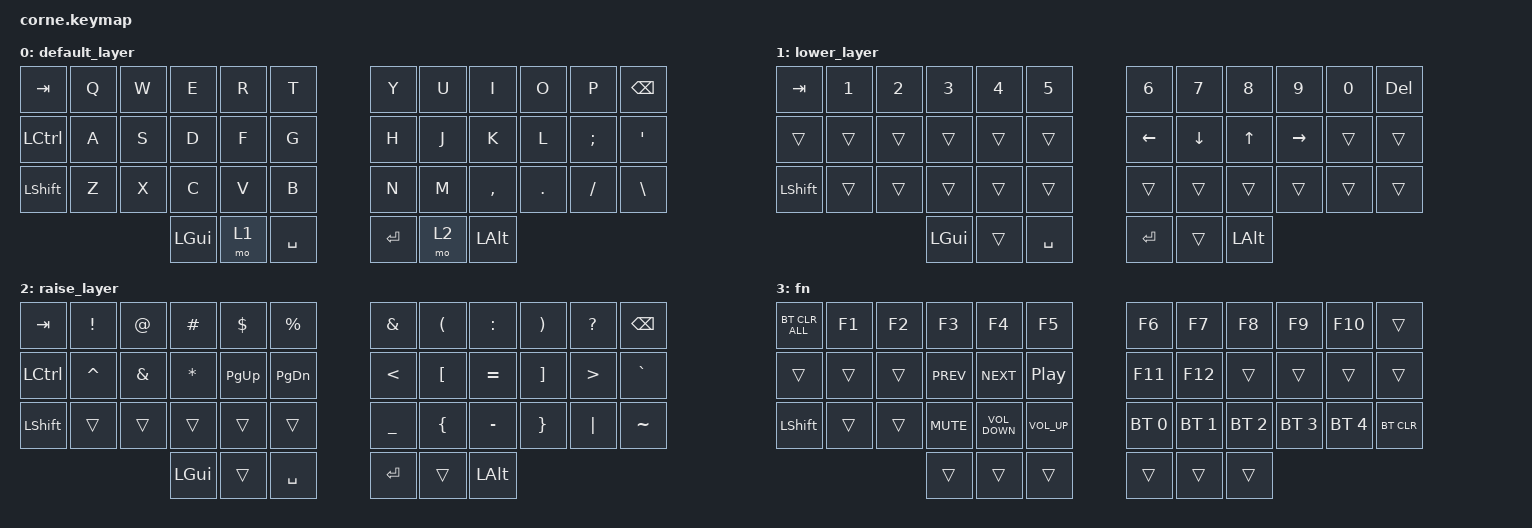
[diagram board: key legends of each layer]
/*
 * Copyright (c) 2020 The ZMK Contributors
 *
 * SPDX-License-Identifier: MIT
 */

#include <behaviors.dtsi>
#include <dt-bindings/zmk/bt.h>
#include <dt-bindings/zmk/keys.h>

/ {
    combos {
        compatible = "zmk,combos";

        combo_esc {
            timeout-ms = <50>;
            key-positions = <0 1>;
            bindings = <&kp ESC>;
        };

        print {
            bindings = <&kp PRINTSCREEN>;
            key-positions = <10 11>;
        };
    };

    behaviors {
        ss_hs_modmorph: ss_hs_modmorph {
            compatible = "zmk,behavior-mod-morph";
            label = "SS_HS_MODMORPH";
            bindings = <&kp M>, <&kp RIGHT_BRACKET>;

            #binding-cells = <0>;
            mods = <(MOD_LSFT|MOD_RSFT)>;
        };

        kh_hs_tapdance: kh_hs_tapdance {
            compatible = "zmk,behavior-tap-dance";
            label = "KH_HS_TAPDANCE";
            #binding-cells = <0>;
            tapping-term-ms = <200>;
            bindings = <&kp LEFT_BRACKET>, <&kp RIGHT_BRACKET>;
        };

        hrm: hrm {
            compatible = "zmk,behavior-hold-tap";
            #binding-cells = <2>;
            flavor = "tap-preferred";
            tapping-term-ms = <200>;
            quick-tap-ms = <200>;
            require-prior-idle-ms = <125>;
            bindings = <&kp>, <&kp>;
        };
    };

    keymap {
        compatible = "zmk,keymap";

        default_layer {
            // -----------------------------------------------------------------------------------------
            // |  TAB |  Q  |  W  |  E  |  R  |  T  |   |  Y  |  U   |  I  |  O  |  P  | BKSP |
            // | CTRL |  A  |  S  |  D  |  F  |  G  |   |  H  |  J   |  K  |  L  |  ;  |  '   |
            // | SHFT |  Z  |  X  |  C  |  V  |  B  |   |  N  |  M   |  ,  |  .  |  /  | ESC  |
            //                    | GUI | LWR | SPC |   | ENT | RSE  | ALT |

            bindings = <
&kp TAB    &kp Q  &kp W  &kp E     &kp R  &kp T        &kp Y    &kp U  &kp I      &kp O    &kp P     &kp BSPC
&kp LCTRL  &kp A  &kp S  &kp D     &kp F  &kp G        &kp H    &kp J  &kp K      &kp L    &kp SEMI  &kp SQT
&kp LSHFT  &kp Z  &kp X  &kp C     &kp V  &kp B        &kp N    &kp M  &kp COMMA  &kp DOT  &kp FSLH  &kp BACKSLASH
                         &kp LGUI  &mo 1  &kp SPACE    &kp RET  &mo 2  &kp LALT
            >;
        };

        lower_layer {
            // -----------------------------------------------------------------------------------------
            // |  TAB |  1  |  2  |  3  |  4  |  5  |   |  6  |  7  |  8  |  9  |  0  | BKSP |
            // | BTCLR| BT1 | BT2 | BT3 | BT4 | BT5 |   | LFT | DWN |  UP | RGT |     |      |
            // | SHFT |     |     |     |     |     |   |     |     |     |     |     |      |
            //                    | GUI |     | SPC |   | ENT |     | ALT |

            bindings = <
&kp TAB    &kp N1  &kp N2  &kp N3    &kp N4  &kp N5       &kp N6    &kp N7    &kp N8    &kp N9     &kp N0  &kp DELETE
&trans     &trans  &trans  &trans    &trans  &trans       &kp LEFT  &kp DOWN  &kp UP    &kp RIGHT  &trans  &trans
&kp LSHFT  &trans  &trans  &trans    &trans  &trans       &trans    &trans    &trans    &trans     &trans  &trans
                           &kp LGUI  &trans  &kp SPACE    &kp RET   &trans    &kp LALT
            >;
        };

        raise_layer {
            // -----------------------------------------------------------------------------------------
            // |  TAB |  !  |  @  |  #  |  $  |  %  |   |  ^  |  &  |  *  |  (  |  )  | BKSP |
            // | CTRL |     |     |     |     |     |   |  -  |  =  |  [  |  ]  |  \  |  `   |
            // | SHFT |     |     |     |     |     |   |  _  |  +  |  {  |  }  | "|" |  ~   |
            //                    | GUI |     | SPC |   | ENT |     | ALT |

            bindings = <
&kp TAB    &kp EXCL   &kp AT         &kp HASH      &kp DLLR     &kp PRCNT        &kp AMPERSAND  &kp LEFT_PARENTHESIS  &kp COLON  &kp RIGHT_PARENTHESIS  &kp QUESTION      &kp BSPC
&kp LCTRL  &kp CARET  &kp AMPERSAND  &kp ASTERISK  &kp PAGE_UP  &kp PAGE_DOWN    &kp LESS_THAN  &kp LEFT_BRACKET      &kp EQUAL  &kp RBKT               &kp GREATER_THAN  &kp GRAVE
&kp LSHFT  &trans     &trans         &trans        &trans       &trans           &kp UNDER      &kp LEFT_BRACE        &kp MINUS  &kp RIGHT_BRACE        &kp PIPE          &kp TILDE
                                     &kp LGUI      &trans       &kp SPACE        &kp RET        &trans                &kp LALT
            >;
        };

        fn {
            bindings = <
&bt BT_CLR_ALL  &kp F1  &kp F2  &kp F3      &kp F4             &kp F5              &kp F6        &kp F7        &kp F8        &kp F9        &kp F10       &trans
&trans          &trans  &trans  &kp C_PREV  &kp C_NEXT         &kp C_PLAY_PAUSE    &kp F11       &kp F12       &trans        &trans        &trans        &trans
&kp LSHIFT      &trans  &trans  &kp K_MUTE  &kp C_VOLUME_DOWN  &kp C_VOLUME_UP     &bt BT_SEL 0  &bt BT_SEL 1  &bt BT_SEL 2  &bt BT_SEL 3  &bt BT_SEL 4  &bt BT_CLR
                                &trans      &trans             &trans              &trans        &trans        &trans
            >;
        };
    };

    conditional_layers {
        compatible = "zmk,conditional-layers";

        bluetooth {
            if-layers = <1 2>;
            then-layer = <3>;
        };
    };
};
